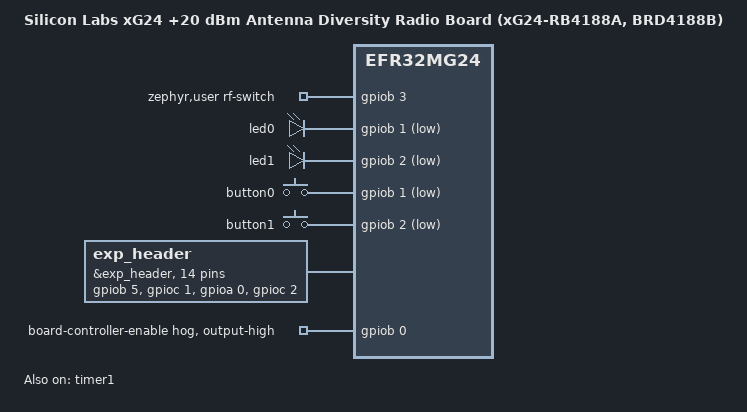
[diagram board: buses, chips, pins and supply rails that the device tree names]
/*
 * Copyright (c) 2026 Silicon Laboratories Inc.
 *
 * SPDX-License-Identifier: Apache-2.0
 */

/dts-v1/;
#include <silabs/xg24/efr32mg24b220f1536im48.dtsi>
#include "xg24_common.dtsi"
#include "xg24_rb4188a-pinctrl.dtsi"

/ {
	model = "Silicon Labs xG24 +20 dBm Antenna Diversity Radio Board (xG24-RB4188A, BRD4188B)";
	compatible = "silabs,xg24_rb4188a", "silabs,efr32mg24";

	zephyr,user {
		/* Antenna diversity RF switch control (SW_CTRL) */
		rf-switch-gpios = <&gpiob 3 GPIO_ACTIVE_HIGH>;
	};
};

&led0 {
	gpios = <&gpiob 1 GPIO_ACTIVE_LOW>;
};

&led1 {
	gpios = <&gpiob 2 GPIO_ACTIVE_LOW>;
};

&pwm_led0 {
	pwms = <&timer0_pwm 0 PWM_MSEC(20) PWM_POLARITY_INVERTED>;
};

&pwm_led1 {
	pwms = <&timer0_pwm 1 PWM_MSEC(20) PWM_POLARITY_INVERTED>;
};

&button0 {
	gpios = <&gpiob 1 GPIO_ACTIVE_LOW>;
};

&button1 {
	gpios = <&gpiob 2 GPIO_ACTIVE_LOW>;
};

&sensor_enable {
	enable-gpios = <&gpiod 3 GPIO_ACTIVE_HIGH>;
};

&exp_header {
	gpio-map = <3 0 &gpiob 5 0>,
		   <4 0 &gpioc 1 0>,
		   <5 0 &gpioa 0 0>,
		   <6 0 &gpioc 2 0>,
		   <7 0 &gpioa 5 0>,
		   <8 0 &gpioc 3 0>,
		   <9 0 &gpiod 2 0>,
		   <10 0 &gpioc 0 0>,
		   <11 0 &gpioa 6 0>,
		   <12 0 &gpioa 8 0>,
		   <13 0 &gpioa 7 0>,
		   <14 0 &gpioa 9 0>,
		   <15 0 &gpioc 5 0>,
		   <16 0 &gpioc 7 0>;
};

&hfxo {
	ctune = <93>;
	precision = <50>;
};

&lfxo {
	ctune = <44>;
};

&eusart1 {
	cs-gpios = <&gpioc 8 GPIO_ACTIVE_HIGH>, <&gpioc 4 GPIO_ACTIVE_LOW>;
};

&ls0xx_ls013b7dh03 {
	disp-en-gpios = <&gpioc 9 GPIO_ACTIVE_HIGH>;
	extcomin-gpios = <&gpioc 6 GPIO_ACTIVE_HIGH>;
};

&timer1 {
	status = "okay";

	timer1_counter: counter {
		status = "okay";
	};
};

&gpiob {
	board-controller-enable {
		gpio-hog;
		gpios = <0 GPIO_ACTIVE_HIGH>;
		output-high;
	};
};

&dcdc {
	silabs,pfmx-peak-current-milliamp = <100>;
};
